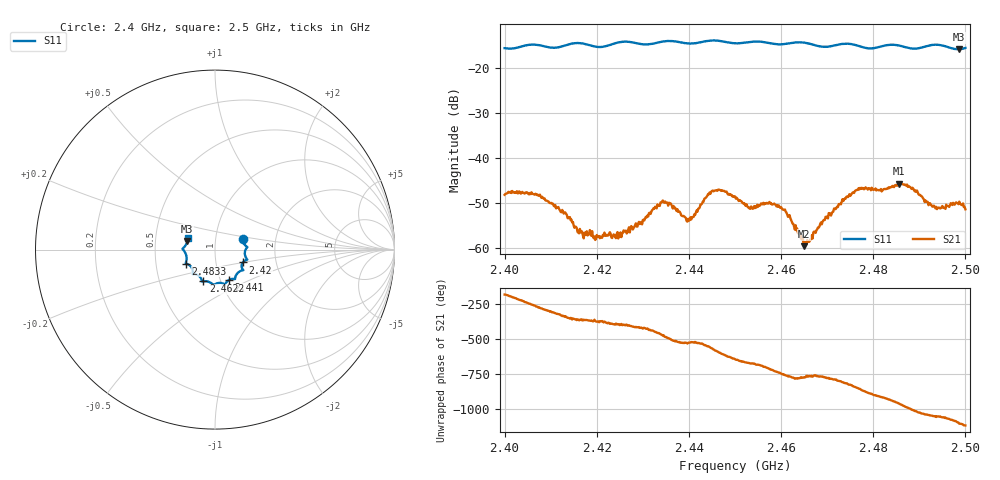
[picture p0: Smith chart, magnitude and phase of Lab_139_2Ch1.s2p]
# Hz S RI R 50
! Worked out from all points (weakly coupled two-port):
!   601 points, 2.4 GHz to 2.5 GHz, reference 50 ohm
!   highest |S21| = -45.74 dB at 2.4855 GHz (marker M1); lowest = -59.7 dB at 2.465 GHz (marker M2)
!   lowest |S11| = -15.9 dB at 2.4987 GHz (marker M3), VSWR 1.38, Z = 36.5 + j3.46 ohm
!   |S11| at or under -10 dB: start of sweep to end of sweep
!   S12 and S22 are empty: the file has one direction only
!   S11 on the Smith chart (normalised r, x): 2.4 GHz: 1.35, +0.16; 2.42 GHz: 1.35, -0.20; 2.441 GHz: 1.09, -0.39; 2.4622 GHz: 0.83, -0.30; 2.4833 GHz: 0.71, -0.12; 2.5 GHz: 0.73, +0.10
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2.4e9  0.1543 0.0591  -0.00387 -4.01e-06  0 0  0 0
2.407167e9  0.1792 0.0122  -0.000104 0.00388  0 0  0 0
2.413e9  0.1711 -0.0424  0.00222 0.00104  0 0  0 0
2.416667e9  0.1783 -0.057  0.00153 -0.000103  0 0  0 0
2.42e9  0.1553 -0.0714  0.00134 -0.000351  0 0  0 0
2.425167e9  0.1567 -0.113  0.00121 -0.000846  0 0  0 0
2.433333e9  0.1129 -0.1539  -0.000309 -0.00289  0 0  0 0
2.434833e9  0.1121 -0.1625  -0.00183 -0.0027  0 0  0 0
2.441e9  0.0754 -0.1707  -0.00211 -0.000591  0 0  0 0
2.445333e9  0.0546 -0.1937  -0.00347 0.00241  0 0  0 0
2.45e9  0.025 -0.1856  0.000923 0.0036  0 0  0 0
2.453333e9  -0.00286 -0.1939  0.00193 0.00188  0 0  0 0
2.459e9  -0.034 -0.1797  0.00279 -0.000654  0 0  0 0
2.462167e9  -0.0644 -0.1771  0.00128 -0.00158  0 0  0 0
2.465e9  -0.0734 -0.1757  0.000575 -0.000864  0 0  0 0
2.466667e9  -0.0755 -0.166  0.000913 -0.00103  0 0  0 0
2.4765e9  -0.1236 -0.1267  -0.00281 -0.00336  0 0  0 0
2.483333e9  -0.1614 -0.0785  -0.0039 0.00257  0 0  0 0
2.4855e9  -0.1619 -0.0715  -0.00239 0.00457  0 0  0 0
2.493333e9  -0.1805 0.00306  0.00256 0.00123  0 0  0 0
2.498667e9  -0.154 0.0461  0.00288 -0.0015  0 0  0 0
2.5e9  -0.1528 0.0651  0.00204 -0.00172  0 0  0 0
